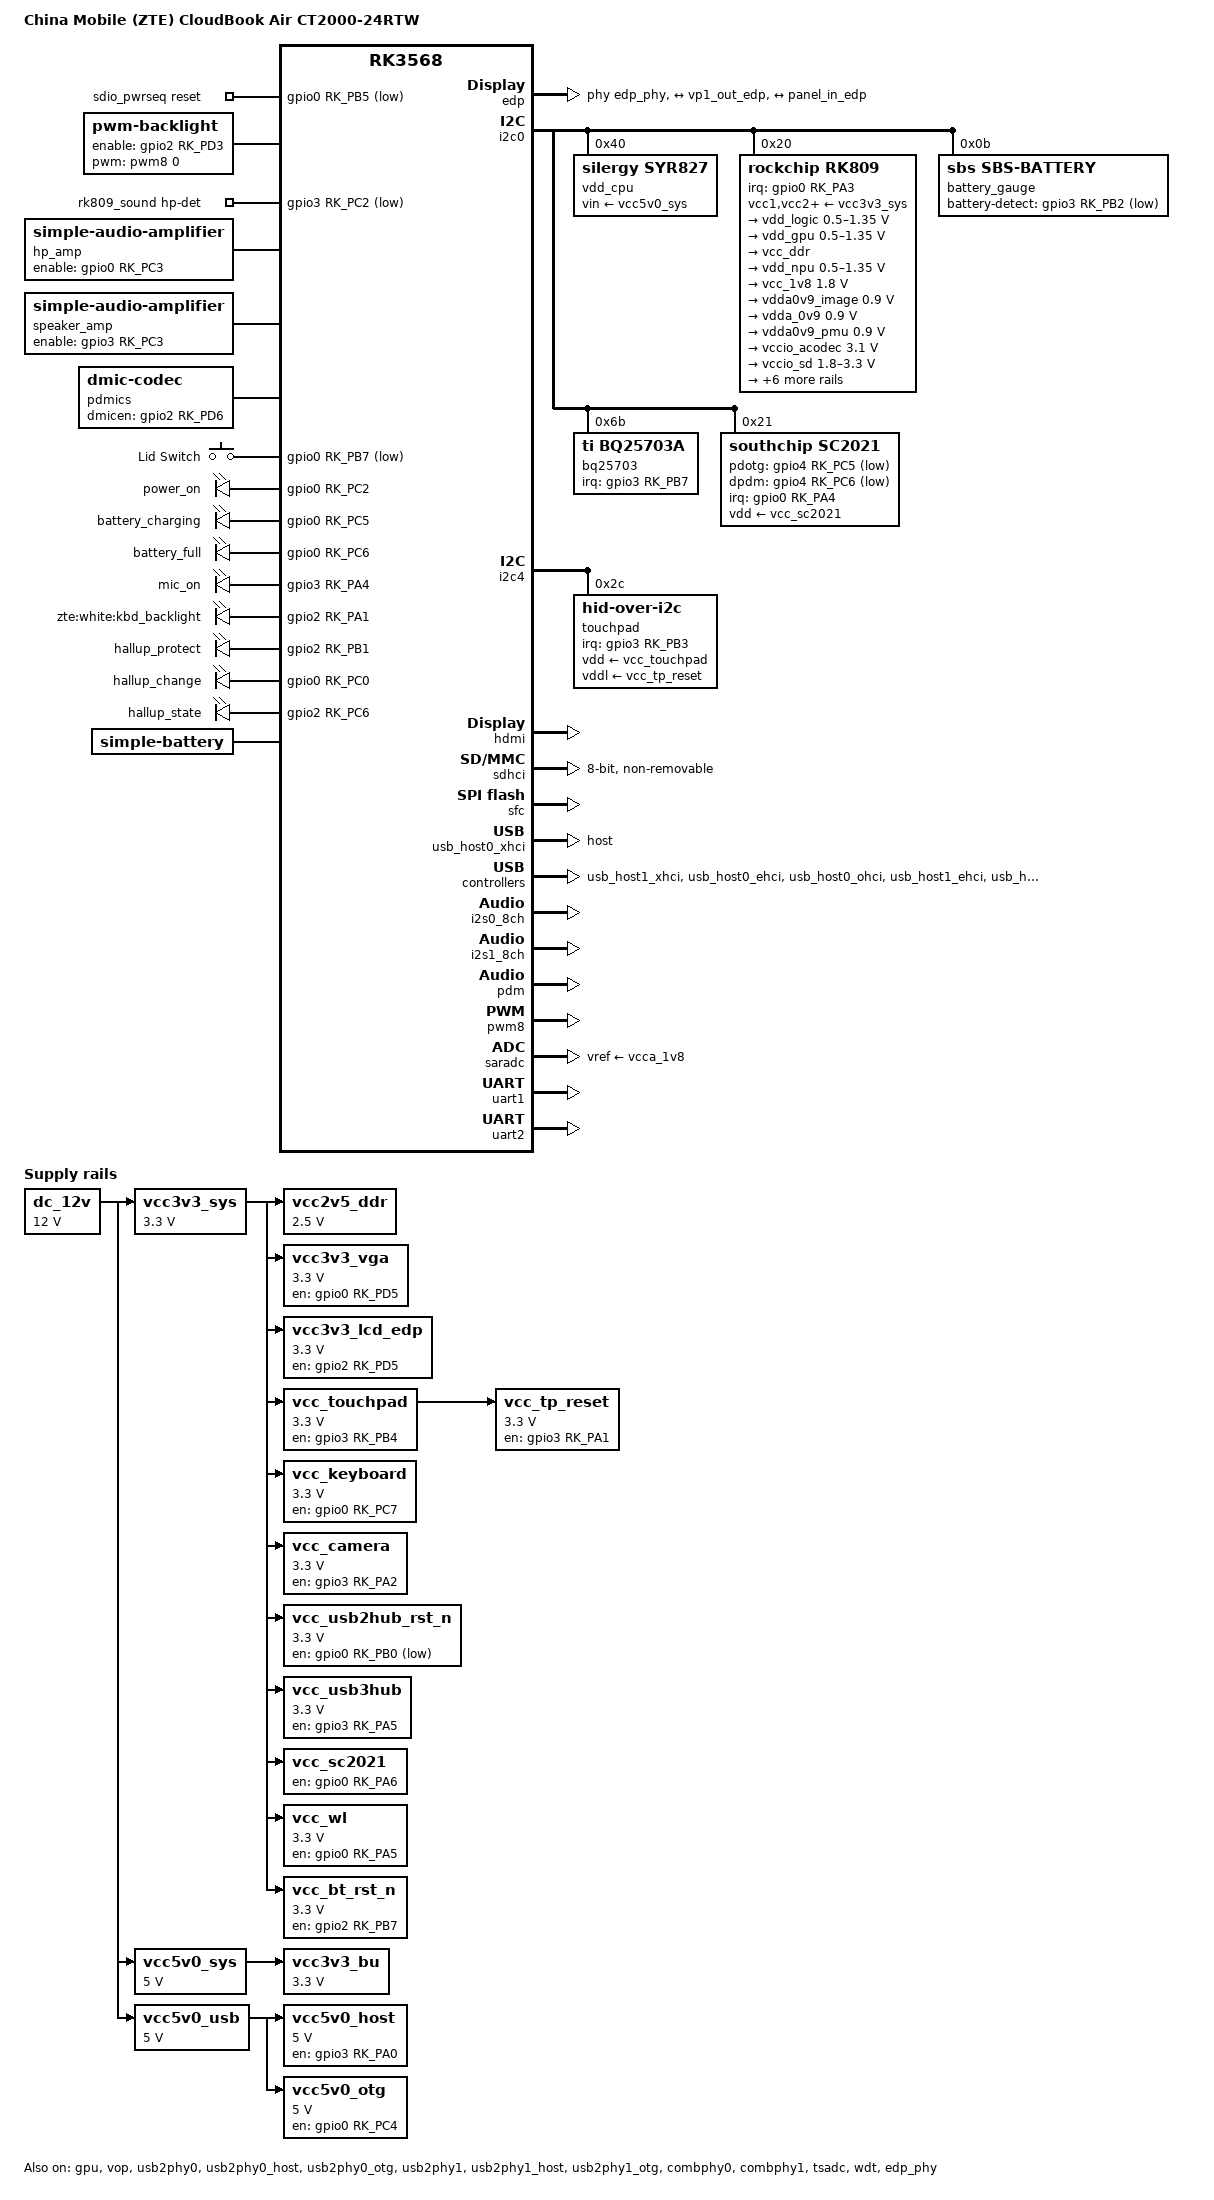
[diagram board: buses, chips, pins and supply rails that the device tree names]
// SPDX-License-Identifier: (GPL-2.0+ OR MIT)
/*
 * Device Tree for China Mobile (ZTE) CloudBook Air 14" (CT2000-24RTW / G601251)
 * Hardware Board Revision: V12/V13 (RK3568B2 + 4GB LPDDR4 + 64GB eMMC + BOE NV140WUM-N44)
 *
 * Secondary-Audited & Reverse-Engineered from:
 *   1. Factory live Device Tree (/sys/firmware/devicetree/base -> extracted_factory.dts)
 *   2. REA / Ghidra 12.1.2 decompilation of 12 factory kernel 4.19.193 drivers:
 *      - ztegpioctl_all.bin.c      (ztegpioctl_probe / suspend / resume)
 *      - boardctl_all.bin.c        (boardctl_usb_probe / boardctl_main_probe)
 *      - i2c_hid_all.bin.c         (i2c_hid_probe / suspend / resume)
 *      - i2c_tp_en_dis.bin.c       (i2c_touchpad_set_enable / disable)
 *      - panel_simple_all.bin.c    (panel_simple_probe / prepare / enable / get_modes)
 *      - edp_phy_all.bin.c         (rockchip_edp_phy_configure V12/V13 BOE N44 override)
 *      - analogix_dp_zte.bin.c     (analogix_dp_bind / cover_send_func Hall lid IRQ)
 *      - rk_headset_all.bin.c      (rockchip_headset_probe / rk_headset_adc_probe)
 *      - sc2021_probe.bin.c & sc2021_typec_evt_worker.bin.c (Southchip SC2021 PD)
 *      - bq25700_pd_connect.bin.c  (TI BQ25700 charger PD negotiation)
 *      - smart_battery_work.bin.c  (ZTE SBS 1.1 battery polling)
 */

/dts-v1/;

#include <dt-bindings/gpio/gpio.h>
#include <dt-bindings/input/input.h>
#include <dt-bindings/interrupt-controller/arm-gic.h>
#include <dt-bindings/power/rk3568-power.h>
#include <dt-bindings/clock/rk3568-cru.h>
#include <dt-bindings/phy/phy.h>
#include <dt-bindings/leds/common.h>
#include <dt-bindings/pinctrl/rockchip.h>
#include <dt-bindings/soc/rockchip,vop2.h>
#include "rk3568.dtsi"

/ {
	model = "China Mobile (ZTE) CloudBook Air CT2000-24RTW";
	/*
	 * Including "zte,w103d" activates pigeon2049/unifreq Linux 6.12/6.18
	 * MT7663S SDIO Wi-Fi (037a:7603) + Bluetooth (037a:7663) combo driver fixes
	 * (WHISR read-clear snapshot, 16-entry RX-enhance, eFuse BT/WiFi serialization).
	 */
	compatible = "zte,ecloudbook-air-24rtw", "zte,w103d", "rockchip,rk3568";

	aliases {
		ethernet0 = &gmac1;
		mmc0 = &sdhci;
		mmc1 = &sdmmc1;
		serial2 = &uart2;
	};

	chosen: chosen {
		bootargs = "earlycon=uart8250,mmio32,0xfe660000 console=ttyS2,115200n8 cpuidle.off=1 clk_ignore_unused pd_ignore_unused initcall_debug initcall_blacklist=devfreq_event_init root=LABEL=ROOTFS rootdelay=15 rw net.ifnames=0 panic=10 ignore_loglevel";
		#address-cells = <2>;
		#size-cells = <2>;
		ranges;

		framebuffer0: framebuffer@edf00000 {
			compatible = "simple-framebuffer";
			reg = <0x00 0xedf00000 0x00 0x008ca000>;
			width = <1920>;
			height = <1200>;
			stride = <7680>;
			format = "a8r8g8b8";
			status = "okay";
		};
	};

	reserved-memory {
		#address-cells = <2>;
		#size-cells = <2>;
		ranges;

		drm_logo: drm-logo@edf00000 {
			reg = <0x00 0xedf00000 0x00 0x00bddc36>;
			no-map;
		};

		ramoops: ramoops@110000 {
			compatible = "ramoops";
			reg = <0x00 0x110000 0x00 0xf0000>;
			record-size = <0x20000>;
			console-size = <0x80000>;
			pmsg-size = <0x50000>;
		};
	};

	/* ====================================================================
	 * 1. Power Tree & Fixed Regulators (Audited against extracted_factory.dts
	 *    and decompiled ztegpioctl / i2c_hid / panel-simple / usb drivers)
	 * ==================================================================== */

	dc_12v: dc-12v-regulator {
		compatible = "regulator-fixed";
		regulator-name = "dc_12v";
		regulator-always-on;
		regulator-boot-on;
		regulator-min-microvolt = <12000000>;
		regulator-max-microvolt = <12000000>;
	};

	vcc3v3_sys: vcc3v3-sys-regulator {
		compatible = "regulator-fixed";
		regulator-name = "vcc3v3_sys";
		regulator-always-on;
		regulator-boot-on;
		regulator-min-microvolt = <3300000>;
		regulator-max-microvolt = <3300000>;
		vin-supply = <&dc_12v>;
	};

	vcc5v0_sys: vcc5v0-sys-regulator {
		compatible = "regulator-fixed";
		regulator-name = "vcc5v0_sys";
		regulator-always-on;
		regulator-boot-on;
		regulator-min-microvolt = <5000000>;
		regulator-max-microvolt = <5000000>;
		vin-supply = <&dc_12v>;
	};

	vcc2v5_ddr: vcc2v5-ddr-regulator {
		compatible = "regulator-fixed";
		regulator-name = "vcc2v5-sys";
		regulator-always-on;
		regulator-boot-on;
		regulator-min-microvolt = <2500000>;
		regulator-max-microvolt = <2500000>;
		vin-supply = <&vcc3v3_sys>;
	};

	vcc3v3_bu: vcc3v3-bu-regulator {
		compatible = "regulator-fixed";
		regulator-name = "vcc3v3_bu";
		regulator-always-on;
		regulator-boot-on;
		regulator-min-microvolt = <3300000>;
		regulator-max-microvolt = <3300000>;
		vin-supply = <&vcc5v0_sys>;
	};

	/*
	 * Live hardware verification (/sys/kernel/debug/gpio & regulator_summary):
	 * gpio-29 (GPIO0_D5) is claimed by vcc3v3_vga (out hi, always-on, 3.3V).
	 */
	vcc3v3_vga: vcc3v3-vga-regulator {
		compatible = "regulator-fixed";
		regulator-name = "vcc3v3_vga";
		regulator-always-on;
		regulator-boot-on;
		regulator-min-microvolt = <3300000>;
		regulator-max-microvolt = <3300000>;
		enable-active-high;
		gpio = <&gpio0 RK_PD5 GPIO_ACTIVE_HIGH>;
		vin-supply = <&vcc3v3_sys>;
	};

	vcc5v0_usb: vcc5v0-usb-regulator {
		compatible = "regulator-fixed";
		regulator-name = "vcc5v0_usb";
		regulator-always-on;
		regulator-boot-on;
		regulator-min-microvolt = <5000000>;
		regulator-max-microvolt = <5000000>;
		vin-supply = <&dc_12v>;
	};

	/*
	 * USB Host 5V VBUS switch (supplies u2phy1_otg & u2phy1_host)
	 * Factory DT: gpio = <&gpio3 RK_PA0 GPIO_ACTIVE_HIGH>
	 */
	vcc5v0_host: vcc5v0-host-regulator {
		compatible = "regulator-fixed";
		regulator-name = "vcc5v0_host";
		regulator-boot-on;
		regulator-always-on;
		regulator-min-microvolt = <5000000>;
		regulator-max-microvolt = <5000000>;
		enable-active-high;
		gpio = <&gpio3 RK_PA0 GPIO_ACTIVE_HIGH>;
		vin-supply = <&vcc5v0_usb>;
		pinctrl-names = "default";
		pinctrl-0 = <&vcc5v0_host_en>;
	};

	/*
	 * USB OTG / Type-C & USB3 Host PHY0 5V VBUS switch (supplies u2phy0_otg & u2phy0_host)
	 * Factory DT: gpio = <&gpio0 RK_PC4 GPIO_ACTIVE_HIGH>
	 */
	vcc5v0_otg: vcc5v0-otg-regulator {
		compatible = "regulator-fixed";
		regulator-name = "vcc5v0_otg";
		regulator-boot-on;
		regulator-min-microvolt = <5000000>;
		regulator-max-microvolt = <5000000>;
		enable-active-high;
		gpio = <&gpio0 RK_PC4 GPIO_ACTIVE_HIGH>;
		vin-supply = <&vcc5v0_usb>;
		pinctrl-names = "default";
		pinctrl-0 = <&vcc5v0_otg_en>;
	};

	/*
	 * eDP LCD Panel 3.3V power switch (vcc3v3_lcd_edp)
	 * Factory DT: gpio = <&gpio2 RK_PD5 GPIO_ACTIVE_HIGH>, enable-active-high
	 */
	vcc3v3_lcd_edp: vcc3v3-lcd-edp {
		compatible = "regulator-fixed";
		regulator-name = "vcc3v3_lcd_edp";
		regulator-boot-on;
		regulator-min-microvolt = <3300000>;
		regulator-max-microvolt = <3300000>;
		enable-active-high;
		gpio = <&gpio2 RK_PD5 GPIO_ACTIVE_HIGH>;
		vin-supply = <&vcc3v3_sys>;
		pinctrl-names = "default";
		pinctrl-0 = <&edp_pwr_en>;

		regulator-state-mem {
			regulator-off-in-suspend;
		};
	};

	/*
	 * Touchpad Power Supply (GPIO3_B4) & Touchpad Reset/EC-Power (GPIO3_A1)
	 * Reverse-engineered from i2c_hid_all.bin.c (FUN_ffffff80088fe660 / FUN_ffffff80088fed40):
	 *   1. gpio-power   = <&gpio3 RK_PB4 GPIO_ACTIVE_HIGH> -> driven HIGH (1), wait 10ms
	 *   2. gpio-reseten = <&gpio3 RK_PA1 GPIO_ACTIVE_HIGH> -> driven HIGH (1), wait 100ms
	 * Both GPIOs MUST be HIGH for touchpad@2c (0911:5288) to come out of reset and respond on I2C4!
	 */
	vcc_touchpad: vcc-touchpad-regulator {
		compatible = "regulator-fixed";
		regulator-name = "vcc_touchpad";
		regulator-always-on;
		regulator-boot-on;
		regulator-min-microvolt = <3300000>;
		regulator-max-microvolt = <3300000>;
		enable-active-high;
		gpio = <&gpio3 RK_PB4 GPIO_ACTIVE_HIGH>;
		startup-delay-us = <10000>;
		vin-supply = <&vcc3v3_sys>;
	};

	vcc_tp_reset: vcc-tp-reset-regulator {
		compatible = "regulator-fixed";
		regulator-name = "vcc_tp_reset";
		regulator-always-on;
		regulator-boot-on;
		regulator-min-microvolt = <3300000>;
		regulator-max-microvolt = <3300000>;
		enable-active-high;
		gpio = <&gpio3 RK_PA1 GPIO_ACTIVE_HIGH>;
		vin-supply = <&vcc_touchpad>;
	};

	/*
	 * Internal SINO WEALTH USB Keyboard Power (GPIO0_C7)
	 * Reverse-engineered from ztegpioctl_all.bin.c:
	 *   gpio-keyboarpower = <&gpio0 RK_PC7 GPIO_ACTIVE_HIGH> -> driven HIGH (1) at boot & resume.
	 */
	vcc_keyboard: vcc-keyboard-regulator {
		compatible = "regulator-fixed";
		regulator-name = "vcc_keyboard";
		regulator-always-on;
		regulator-boot-on;
		regulator-min-microvolt = <3300000>;
		regulator-max-microvolt = <3300000>;
		enable-active-high;
		gpio = <&gpio0 RK_PC7 GPIO_ACTIVE_HIGH>;
		vin-supply = <&vcc3v3_sys>;
	};

	/*
	 * Internal UVC Webcam Power (GPIO3_A2)
	 * Reverse-engineered from ztegpioctl_all.bin.c:
	 *   gpio-cameraen = <&gpio3 RK_PA2 GPIO_ACTIVE_HIGH> -> driven HIGH (1) at boot & resume, LOW (0) in suspend.
	 */
	vcc_camera: vcc-camera-regulator {
		compatible = "regulator-fixed";
		regulator-name = "vcc_camera";
		regulator-always-on;
		regulator-boot-on;
		regulator-min-microvolt = <3300000>;
		regulator-max-microvolt = <3300000>;
		enable-active-high;
		gpio = <&gpio3 RK_PA2 GPIO_ACTIVE_HIGH>;
		vin-supply = <&vcc3v3_sys>;

		regulator-state-mem {
			regulator-off-in-suspend;
		};
	};

	/*
	 * USB 2.0 Hub Reset Deassertion (GPIO0_B0)
	 * CRITICAL POLARITY NOTE from ztegpioctl_all.bin.c (lines 51-53):
	 *   ztegpioctl_probe calls gpiod_direction_output_raw(gpio_usb2hubrst, 0)!
	 *   The USB2.0 Hub reset pin is ACTIVE-HIGH (1 = reset, 0 = normal operation).
	 *   By omitting 'enable-active-high' below, regulator-fixed drives GPIO0_B0 LOW (0) when enabled!
	 */
	vcc_usb2hub_rst_n: vcc-usb2hub-rst-n-regulator {
		compatible = "regulator-fixed";
		regulator-name = "vcc_usb2hub_rst_n";
		regulator-always-on;
		regulator-boot-on;
		regulator-min-microvolt = <3300000>;
		regulator-max-microvolt = <3300000>;
		gpio = <&gpio0 RK_PB0 GPIO_ACTIVE_LOW>;
		vin-supply = <&vcc3v3_sys>;
	};

	/*
	 * USB 3.0 Hub Power / Reset Deassertion (GPIO3_A5)
	 * Reverse-engineered from boardctl_all.bin.c (FUN_ffffff8008819fa8 / zteusb_pm_resume):
	 *   gpio-reset = <&gpio3 RK_PA5 GPIO_ACTIVE_HIGH> -> driven LOW (0) for 20ms, then HIGH (1)!
	 *   Normal operation requires GPIO3_A5 = HIGH (1).
	 */
	vcc_usb3hub: vcc-usb3hub-regulator {
		compatible = "regulator-fixed";
		regulator-name = "vcc_usb3hub";
		regulator-always-on;
		regulator-boot-on;
		regulator-min-microvolt = <3300000>;
		regulator-max-microvolt = <3300000>;
		enable-active-high;
		gpio = <&gpio3 RK_PA5 GPIO_ACTIVE_HIGH>;
		startup-delay-us = <20000>;
		vin-supply = <&vcc3v3_sys>;
		pinctrl-names = "default";
		pinctrl-0 = <&zte_usbhub_reset_gpio>;
	};

	/* SC2021 供电必须常开，不能再由 LED 用户接口关闭。 */
	vcc_sc2021: vcc-sc2021-regulator {
		compatible = "regulator-fixed";
		regulator-name = "vcc_sc2021";
		regulator-always-on;
		regulator-boot-on;
		enable-active-high;
		gpio = <&gpio0 RK_PA6 GPIO_ACTIVE_HIGH>;
		vin-supply = <&vcc3v3_sys>;
	};

	/*
	 * MediaTek MT7663S WiFi Power Enable (GPIO0_A5) & BT Reset Deassert (GPIO2_B7)
	 * Factory DT:
	 *   WIFI,poweren_gpio = <&gpio0 RK_PA5 GPIO_ACTIVE_HIGH>
	 *   BT,reset_gpio     = <&gpio2 RK_PB7 GPIO_ACTIVE_HIGH>
	 */
	vcc_wl: vcc-wl-regulator {
		compatible = "regulator-fixed";
		regulator-name = "vcc_wl";
		regulator-always-on;
		regulator-boot-on;
		regulator-min-microvolt = <3300000>;
		regulator-max-microvolt = <3300000>;
		enable-active-high;
		gpio = <&gpio0 RK_PA5 GPIO_ACTIVE_HIGH>;
		vin-supply = <&vcc3v3_sys>;
		pinctrl-names = "default";
		pinctrl-0 = <&wlan_power_on>;
	};

	vcc_bt_rst_n: vcc-bt-rst-n-regulator {
		compatible = "regulator-fixed";
		regulator-name = "vcc_bt_rst_n";
		regulator-always-on;
		regulator-boot-on;
		regulator-min-microvolt = <3300000>;
		regulator-max-microvolt = <3300000>;
		enable-active-high;
		gpio = <&gpio2 RK_PB7 GPIO_ACTIVE_HIGH>;
		vin-supply = <&vcc3v3_sys>;
	};

	/* SDIO WiFi Power Sequence (MT7663S Reset on GPIO0_B5 + RK809 32.768kHz clock) */
	sdio_pwrseq: sdio-pwrseq {
		compatible = "mmc-pwrseq-simple";
		clocks = <&rk809 1>;
		clock-names = "ext_clock";
		pinctrl-names = "default";
		pinctrl-0 = <&wifi_enable_h>;
		post-power-on-delay-ms = <200>;
		reset-gpios = <&gpio0 RK_PB5 GPIO_ACTIVE_LOW>;
	};

	/* ====================================================================
	 * 2. Display Subsystem: Backlight & BOE NV140WUM-N44 1920x1200 eDP Panel
	 *    Audited against extracted_factory.dts & panel_simple_all.bin.c
	 * ==================================================================== */

	/*
	 * Live hardware verification (/sys/kernel/debug/pwm & /sys/kernel/debug/gpio):
	 *   - PWM device: platform/fe6f0000.pwm (&pwm8, period = 25000ns, polarity = normal)
	 *   - Enable GPIO: gpio-91 = <&gpio2 RK_PD3 GPIO_ACTIVE_HIGH> (out hi)
	 */
	backlight: backlight {
		compatible = "pwm-backlight";
		pwms = <&pwm8 0 25000 0>;
		/* 本机实际 backlight 节点使用线性 0..255，不套用备用 backlight1 曲线。 */
		default-brightness-level = <200>;
		enable-gpios = <&gpio2 RK_PD3 GPIO_ACTIVE_HIGH>;
		pinctrl-names = "default";
		pinctrl-0 = <&bl_en_gpio>;
	};

	/* ====================================================================
	 * 3. Audio Subsystems (RK809 Speaker/HP + Digital PDM Mic Array + HDMI)
	 *    Audited against extracted_factory.dts & rk_headset_all.bin.c
	 * ==================================================================== */

	rk809_sound: rk809-sound {
		status = "okay";
		compatible = "simple-audio-card";
		simple-audio-card,format = "i2s";
		simple-audio-card,name = "rockchip,rk809-codec";
		simple-audio-card,mclk-fs = <256>;
		simple-audio-card,aux-devs = <&hp_amp>, <&speaker_amp>;
		simple-audio-card,pin-switches = "Headphones", "Speaker";
		pinctrl-names = "default";
		pinctrl-0 = <&hp_det>;
		/*
		 * 3.5mm Headset Jack Detection & External Headphone Switch/Amp:
		 * Reverse-engineered from rk_headset_all.bin.c (FUN_ffffff8008882034 / FUN_ffffff80088823c8):
		 *   - headset_gpio     = <&gpio3 RK_PC2 GPIO_ACTIVE_LOW>  (Jack insert detect)
		 *   - headset-ctl-gpios= <&gpio0 RK_PC3 GPIO_ACTIVE_HIGH> (Headphone amp enable, driven HIGH on insert)
		 */
		simple-audio-card,hp-det-gpios = <&gpio3 RK_PC2 GPIO_ACTIVE_LOW>;
		simple-audio-card,widgets =
			"Microphone", "Mic Jack",
			"Headphone", "Headphones",
			"Speaker", "Speaker";
		simple-audio-card,routing =
			"Headphones Amplifier INL", "HPOL",
			"Headphones Amplifier INR", "HPOR",
			"Headphones", "Headphones Amplifier OUTL",
			"Headphones", "Headphones Amplifier OUTR",
			"Speaker Amplifier INL", "SPKO",
			"Speaker", "Speaker Amplifier OUTL";

		simple-audio-card,cpu {
			sound-dai = <&i2s1_8ch>;
		};

		simple-audio-card,codec {
			sound-dai = <&rk809_codec>;
		};
	};

	/* 耳机和扬声器功放由 DAPM 按实际播放路径控制，不再常开。 */
	hp_amp: headphone-amplifier {
		compatible = "simple-audio-amplifier";
		enable-gpios = <&gpio0 RK_PC3 GPIO_ACTIVE_HIGH>;
		sound-name-prefix = "Headphones Amplifier";
	};

	speaker_amp: speaker-amplifier {
		compatible = "simple-audio-amplifier";
		enable-gpios = <&gpio3 RK_PC3 GPIO_ACTIVE_HIGH>;
		sound-name-prefix = "Speaker Amplifier";
	};

	/* Built-in Digital Microphone Array (PDM @ fe440000 + GPIO2_D6 enable) */
	pdmics: dmic-codec {
		status = "okay";
		compatible = "dmic-codec";
		#sound-dai-cells = <0>;
		dmicen-gpios = <&gpio2 RK_PD6 GPIO_ACTIVE_HIGH>;
		wakeup-delay-ms = <50>;
	};

	pdm_mic_array: pdm-mic-array {
		status = "okay";
		compatible = "simple-audio-card";
		simple-audio-card,name = "rockchip,pdm-mic-array";

		simple-audio-card,cpu {
			sound-dai = <&pdm>;
		};

		simple-audio-card,codec {
			sound-dai = <&pdmics>;
		};
	};

	/* HDMI Audio Output (I2S0_8CH -> HDMI) */
	hdmi_sound: hdmi-sound {
		status = "okay";
		compatible = "simple-audio-card";
		simple-audio-card,name = "rockchip,hdmi";
		simple-audio-card,mclk-fs = <128>;
		simple-audio-card,format = "i2s";

		simple-audio-card,cpu {
			sound-dai = <&i2s0_8ch>;
		};

		simple-audio-card,codec {
			sound-dai = <&hdmi>;
		};
	};

	/* ====================================================================
	 * 4. Input & LEDs: Lid Hall Sensor (GPIO0_B7) & System/Power/KBD LEDs
	 *    Audited against extracted_factory.dts (lines 534-602),
	 *    analogix_dp_zte.bin.c, and ztegpioctl_all.bin.c
	 * ==================================================================== */

	gpio-keys {
		compatible = "gpio-keys";
		autorepeat;

		/*
		 * Laptop Lid Hall Switch (GPIO0_B7)
		 * In factory kernel (panel_simple_all.bin.c + analogix_dp_zte.bin.c),
		 * lcdcover_pin = <&gpio0 RK_PB7> triggers "edp_cover_irq" on rising/falling edges.
		 * In Mainline Linux, SW_LID natively integrates with systemd-logind!
		 */
		lid-switch {
			label = "Lid Switch";
			linux,input-type = <EV_SW>;
			linux,code = <SW_LID>;
			gpios = <&gpio0 RK_PB7 GPIO_ACTIVE_LOW>;
			wakeup-source;
		};
	};

	leds: gpio-leds {
		compatible = "gpio-leds";

		power_led: led-power {
			label = "power_on";
			gpios = <&gpio0 RK_PC2 GPIO_ACTIVE_HIGH>;
			default-state = "on";
		};

		charging_led: led-charging {
			label = "battery_charging";
			gpios = <&gpio0 RK_PC5 GPIO_ACTIVE_HIGH>;
			default-state = "off";
			linux,default-trigger = "battery-charging";
		};

		battery_full_led: led-battery-full {
			label = "battery_full";
			gpios = <&gpio0 RK_PC6 GPIO_ACTIVE_HIGH>;
			default-state = "off";
			linux,default-trigger = "battery-full";
		};

		mic_mute_led: led-mic {
			label = "mic_on";
			gpios = <&gpio3 RK_PA4 GPIO_ACTIVE_HIGH>;
			default-state = "off";
		};

		/*
		 * Keyboard Backlight (GPIO2_A1)
		 * Reverse-engineered from ztegpioctl_all.bin.c:
		 *   gpio-keyboardbacklight = <&gpio2 RK_PA1 GPIO_ACTIVE_LOW>
		 *   Note: ztegpioctl sets raw 0 = OFF, raw 1 = ON.
		 */
		kbd_backlight: led-kbd-backlight {
			label = "zte:white:kbd_backlight";
			gpios = <&gpio2 RK_PA1 GPIO_ACTIVE_HIGH>;
			default-state = "off";
		};

		/* SC2021 电源已移至 vcc_sc2021；这里只保留真正的 LED/霍尔控制。 */
		hallup_protect: led-hallup-protect {
			label = "hallup_protect";
			gpios = <&gpio2 RK_PB1 GPIO_ACTIVE_HIGH>;
			default-state = "on";
			retain-state-suspended;
		};

		hallup_change: led-hallup-change {
			label = "hallup_change";
			gpios = <&gpio0 RK_PC0 GPIO_ACTIVE_HIGH>;
			default-state = "off";
		};

		hallup_state: led-hallup-state {
			label = "hallup_state";
			gpios = <&gpio2 RK_PC6 GPIO_ACTIVE_HIGH>;
			default-state = "off";
		};
	};

	/*
	 * eDP PHY & Controller
	 * On RK3568, eDP PHY is at 0xfdcb0000 and controller is at 0xfe0c0000.
	 * Reverse-engineered from edp_phy_all.bin.c and factory_w620d_v12.dts.
	 */
	edp_phy: edp-phy@fdcb0000 {
		compatible = "rockchip,rk3568-edp-phy";
		reg = <0x0 0xfdcb0000 0x0 0x8000>;
		clocks = <&pmucru XIN_OSC0_EDPPHY_G>, <&cru PCLK_EDPPHY_GRF>;
		clock-names = "refclk", "pclk";
		resets = <&cru SRST_P_EDPPHY_GRF>;
		reset-names = "apb";
		#phy-cells = <0>;
		status = "okay";
		zte,edp-v12-v13;
	};

	edp: edp@fe0c0000 {
		compatible = "rockchip,rk3568-edp";
		reg = <0x0 0xfe0c0000 0x0 0x10000>;
		interrupts = <GIC_SPI 18 IRQ_TYPE_LEVEL_HIGH>;
		clocks = <&pmucru XIN_OSC0_EDPPHY_G>, <&cru PCLK_EDP_CTRL>, <&cru CLK_EDP_200M>, <&cru HCLK_VO>;
		clock-names = "dp", "pclk", "spdif", "hclk";
		resets = <&cru SRST_EDP_24M>, <&cru SRST_P_EDP_CTRL>;
		reset-names = "dp", "apb";
		phys = <&edp_phy>;
		phy-names = "dp";
		power-domains = <&power RK3568_PD_VO>;
		rockchip,grf = <&grf>;
		status = "okay";
		force-hpd;

		ports {
			#address-cells = <1>;
			#size-cells = <0>;

			edp_in: port@0 {
				reg = <0>;

				edp_in_vp1: endpoint {
					remote-endpoint = <&vp1_out_edp>;
				};
			};

			edp_out: port@1 {
				reg = <1>;

				edp_out_panel: endpoint {
					remote-endpoint = <&panel_in_edp>;
				};
			};
		};

		aux-bus {
			/* BOE NV140WUM-N44 通过 AUX/EDID 识别，电源参数来自本机原厂 DT。 */
			edp_panel: panel {
				compatible = "edp-panel";
				backlight = <&backlight>;
				power-supply = <&vcc3v3_lcd_edp>;
				enable-gpios = <&gpio2 RK_PD4 GPIO_ACTIVE_HIGH>;
				no-hpd;
				hpd-absent-delay-ms = <200>;

				port {
					panel_in_edp: endpoint {
						remote-endpoint = <&edp_out_panel>;
					};
				};
			};
		};
	};
};

/* ====================================================================
 * 5. CPU & GPU DVFS Supplies
 * ==================================================================== */

&cpu0 {
	cpu-supply = <&vdd_cpu>;
};

&cpu1 {
	cpu-supply = <&vdd_cpu>;
};

&cpu2 {
	cpu-supply = <&vdd_cpu>;
};

&cpu3 {
	cpu-supply = <&vdd_cpu>;
};

&gpu {
	mali-supply = <&vdd_gpu>;
	status = "okay";
};

/* ====================================================================
 * 6. PMU IO Voltage Domains (CRITICAL: Audited against extracted_factory.dts)
 *    vccio1 = 3.1V (vccio_acodec), vccio4 = 1.8V, vccio5/6/7 = 3.3V
 * ==================================================================== */

&pmu_io_domains {
	status = "okay";
	pmuio2-supply = <&vcc3v3_pmu>;
	vccio1-supply = <&vccio_acodec>;
	vccio3-supply = <&vccio_sd>;
	vccio4-supply = <&vcc_1v8>;
	vccio5-supply = <&vcc_3v3>;
	vccio6-supply = <&vcc_3v3>;
	vccio7-supply = <&vcc_3v3>;
};

/*
 * Syscon Reboot Mode in PMUGRF (offset 0x200):
 * Allows 'sudo reboot loader' (Rockusb) or 'sudo reboot ums' (USB Mass Storage of eMMC)
 * from inside Mainline Linux / Armbian, and satisfies dtbo_a/b __fixups__ (&reboot_mode).
 */
&pmugrf {
	reboot_mode: reboot-mode {
		compatible = "syscon-reboot-mode";
		offset = <0x200>;
		mode-bootloader = <0x5242c309>;
		mode-charge = <0x5242c30b>;
		mode-fastboot = <0x5242c303>;
		mode-loader = <0x5242c301>;
		mode-normal = <0x5242c300>;
		mode-panic = <0x5242c307>;
		mode-recovery = <0x5242c303>;
		mode-ums = <0x5242c30c>;
		mode-watchdog = <0x5242c308>;
	};
};

/* 本机 25 Wh 电池对应的原厂 BQ 配置；其他容量电池需重新核对参数。 */
/ {
	battery: battery {
		compatible = "simple-battery";
		voltage-min-design-microvolt = <7168000>;
		constant-charge-current-max-microamp = <3000000>;
		constant-charge-voltage-max-microvolt = <8700000>;
	};
};

/* ====================================================================
 * 7. I2C0: Power Management Bus
 *    - SYR827 / RK860 CPU Buck (@40, vin = vcc5v0_sys)
 *    - RK809 PMIC + Codec (@20)
 *    - Southchip SC2021 Type-C PD Controller (@21, IRQ GPIO0_A4)
 *    - TI BQ25700/BQ25703 NVDC Buck-Boost Charger (@6b, IRQ GPIO3_B7)
 *    - SBS 1.1 Smart Battery (@0b, batid GPIO3_B2)
 * ==================================================================== */

&i2c0 {
	status = "okay";
	pinctrl-names = "default";
	pinctrl-0 = <&i2c0_xfer>;

	vdd_cpu: regulator@40 {
		compatible = "silergy,syr827";
		reg = <0x40>;
		fcs,suspend-voltage-selector = <1>;
		regulator-name = "vdd_cpu";
		regulator-always-on;
		regulator-boot-on;
		regulator-min-microvolt = <712500>;
		regulator-max-microvolt = <1390000>;
		regulator-ramp-delay = <1000>;
		vin-supply = <&vcc5v0_sys>;

		regulator-state-mem {
			regulator-off-in-suspend;
		};
	};

	rk809: pmic@20 {
		compatible = "rockchip,rk809";
		reg = <0x20>;
		interrupt-parent = <&gpio0>;
		interrupts = <RK_PA3 IRQ_TYPE_LEVEL_LOW>;
		#clock-cells = <1>;
		#sound-dai-cells = <0>;
		clock-output-names = "rk808-clkout1", "rk808-clkout2";
		clocks = <&cru I2S1_MCLKOUT_TX>;
		clock-names = "mclk";
		assigned-clocks = <&cru I2S1_MCLKOUT_TX>;
		assigned-clock-parents = <&cru CLK_I2S1_8CH_TX>;
		pinctrl-names = "default", "pmic-sleep", "pmic-power-off", "pmic-reset";
		pinctrl-0 = <&pmic_int>, <&i2s1m0_mclk>, <&pmic_hwreset>;
		pinctrl-1 = <&soc_slppin_slp>, <&rk817_slppin_slp>;
		pinctrl-2 = <&soc_slppin_gpio>, <&rk817_slppin_pwrdn>;
		pinctrl-3 = <&soc_slppin_gpio>, <&rk817_slppin_rst>;
		rockchip,system-power-controller;
		wakeup-source;

		vcc1-supply = <&vcc3v3_sys>;
		vcc2-supply = <&vcc3v3_sys>;
		vcc3-supply = <&vcc3v3_sys>;
		vcc4-supply = <&vcc3v3_sys>;
		vcc5-supply = <&vcc3v3_sys>;
		vcc6-supply = <&vcc3v3_sys>;
		vcc7-supply = <&vcc3v3_sys>;
		vcc8-supply = <&vcc3v3_sys>;
		vcc9-supply = <&vcc3v3_sys>;

		pwrkey {
			status = "okay";
		};

		pinctrl_rk8xx: pinctrl_rk8xx {
			gpio-controller;
			#gpio-cells = <2>;

			rk817_slppin_null: rk817_slppin_null {
				pins = "gpio_slp";
				function = "pin_fun0";
			};

			rk817_slppin_slp: rk817_slppin_slp {
				pins = "gpio_slp";
				function = "pin_fun1";
			};

			rk817_slppin_pwrdn: rk817_slppin_pwrdn {
				pins = "gpio_slp";
				function = "pin_fun2";
			};

			rk817_slppin_rst: rk817_slppin_rst {
				pins = "gpio_slp";
				function = "pin_fun3";
			};
		};

		regulators {
			vdd_logic: DCDC_REG1 {
				regulator-name = "vdd_logic";
				regulator-always-on;
				regulator-boot-on;
				regulator-min-microvolt = <500000>;
				regulator-max-microvolt = <1350000>;
				regulator-initial-mode = <0x2>;
				regulator-ramp-delay = <6001>;

				regulator-state-mem {
					regulator-on-in-suspend;
					regulator-suspend-microvolt = <900000>;
				};
			};

			vdd_gpu: DCDC_REG2 {
				regulator-name = "vdd_gpu";
				regulator-always-on;
				regulator-boot-on;
				regulator-min-microvolt = <500000>;
				regulator-max-microvolt = <1350000>;
				regulator-initial-mode = <0x2>;
				regulator-ramp-delay = <6001>;

				regulator-state-mem {
					regulator-off-in-suspend;
				};
			};

			vcc_ddr: DCDC_REG3 {
				regulator-name = "vcc_ddr";
				regulator-always-on;
				regulator-boot-on;
				regulator-initial-mode = <0x2>;

				regulator-state-mem {
					regulator-on-in-suspend;
				};
			};

			vdd_npu: DCDC_REG4 {
				regulator-name = "vdd_npu";
				regulator-always-on;
				regulator-boot-on;
				regulator-min-microvolt = <500000>;
				regulator-max-microvolt = <1350000>;
				regulator-initial-mode = <0x2>;
				regulator-ramp-delay = <6001>;

				regulator-state-mem {
					regulator-off-in-suspend;
				};
			};

			vcc_1v8: DCDC_REG5 {
				regulator-name = "vcc_1v8";
				regulator-always-on;
				regulator-boot-on;
				regulator-min-microvolt = <1800000>;
				regulator-max-microvolt = <1800000>;

				regulator-state-mem {
					regulator-on-in-suspend;
					regulator-suspend-microvolt = <1800000>;
				};
			};

			vdda0v9_image: LDO_REG1 {
				regulator-name = "vdda0v9_image";
				regulator-always-on;
				regulator-boot-on;
				regulator-min-microvolt = <900000>;
				regulator-max-microvolt = <900000>;

				regulator-state-mem {
					regulator-off-in-suspend;
				};
			};

			vdda_0v9: LDO_REG2 {
				regulator-name = "vdda_0v9";
				regulator-always-on;
				regulator-boot-on;
				regulator-min-microvolt = <900000>;
				regulator-max-microvolt = <900000>;

				regulator-state-mem {
					regulator-off-in-suspend;
				};
			};

			vdda0v9_pmu: LDO_REG3 {
				regulator-name = "vdda0v9_pmu";
				regulator-always-on;
				regulator-boot-on;
				regulator-min-microvolt = <900000>;
				regulator-max-microvolt = <900000>;

				regulator-state-mem {
					regulator-on-in-suspend;
					regulator-suspend-microvolt = <900000>;
				};
			};

			/* Audited against extracted_factory.dts line 5722: 3.1V (3100000 uV) */
			vccio_acodec: LDO_REG4 {
				regulator-name = "vccio_acodec";
				regulator-always-on;
				regulator-boot-on;
				regulator-min-microvolt = <3100000>;
				regulator-max-microvolt = <3100000>;

				regulator-state-mem {
					regulator-off-in-suspend;
				};
			};

			vccio_sd: LDO_REG5 {
				regulator-name = "vccio_sd";
				regulator-always-on;
				regulator-boot-on;
				regulator-min-microvolt = <1800000>;
				regulator-max-microvolt = <3300000>;

				regulator-state-mem {
					regulator-off-in-suspend;
				};
			};

			vcc3v3_pmu: LDO_REG6 {
				regulator-name = "vcc3v3_pmu";
				regulator-always-on;
				regulator-boot-on;
				regulator-min-microvolt = <3300000>;
				regulator-max-microvolt = <3300000>;

				regulator-state-mem {
					regulator-on-in-suspend;
					regulator-suspend-microvolt = <3300000>;
				};
			};

			vcca_1v8: LDO_REG7 {
				regulator-name = "vcca_1v8";
				regulator-always-on;
				regulator-boot-on;
				regulator-min-microvolt = <1800000>;
				regulator-max-microvolt = <1800000>;

				regulator-state-mem {
					regulator-off-in-suspend;
				};
			};

			vcca1v8_pmu: LDO_REG8 {
				regulator-name = "vcca1v8_pmu";
				regulator-always-on;
				regulator-boot-on;
				regulator-min-microvolt = <1800000>;
				regulator-max-microvolt = <1800000>;

				regulator-state-mem {
					regulator-on-in-suspend;
					regulator-suspend-microvolt = <1800000>;
				};
			};

			vcca1v8_image: LDO_REG9 {
				regulator-name = "vcca1v8_image";
				regulator-always-on;
				regulator-boot-on;
				regulator-min-microvolt = <1800000>;
				regulator-max-microvolt = <1800000>;

				regulator-state-mem {
					regulator-off-in-suspend;
				};
			};

			vcc_3v3: SWITCH_REG1 {
				regulator-name = "vcc_3v3";
				regulator-always-on;
				regulator-boot-on;

				regulator-state-mem {
					regulator-off-in-suspend;
				};
			};

			vcc3v3_sd: SWITCH_REG2 {
				regulator-name = "vcc3v3_sd";
				regulator-always-on;
				regulator-boot-on;

				regulator-state-mem {
					regulator-off-in-suspend;
				};
			};
		};

		/*
		 * Audited against extracted_factory.dts lines 5900-5915:
		 * Speaker Amplifier Enable = GPIO3_C3 (ACTIVE_HIGH)
		 */
		rk809_codec: codec {
			status = "okay";
			#sound-dai-cells = <0>;
			compatible = "rockchip,rk817-codec";
			rockchip,mic-in-differential;
		};
	};

	/*
	 * SBS 1.1 Smart Battery Gauge (0x0b on I2C0)
	 * Reverse-engineered from smart_battery_work.bin.c:
	 *   Standard SBS 1.1 registers (0x08 Temp, 0x09 Voltage, 0x0a Current, 0x0d RSOC,
	 *   0x0f RemCap, 0x10 FullCap, 0x16 Status, 0x17 CycleCount, 0x18 DesignCap).
	 *   Battery presence detect pin (from factory rk809 battery subnode): GPIO3_B2 (ACTIVE_LOW).
	 */
	battery_gauge: battery@b {
		compatible = "sbs,sbs-battery";
		reg = <0x0b>;
		sbs,i2c-retry-count = <3>;
		sbs,poll-retry-count = <3>;
		sbs,battery-detect-gpios = <&gpio3 RK_PB2 GPIO_ACTIVE_LOW>;
		sbs,disable-charger-broadcasts;
		power-supplies = <&bq25703>;
		pinctrl-names = "default";
		pinctrl-0 = <&bat_id>;
	};

	/*
	 * TI BQ25703A NVDC Buck-Boost Battery Charger (0x6b on I2C0)
	 * 使用主线 simple-battery 参数；不添加未经验证的 OTG VBUS regulator。
	 */
	bq25703: charger@6b {
		compatible = "ti,bq25703a";
		reg = <0x6b>;
		interrupt-parent = <&gpio3>;
		interrupts = <RK_PB7 IRQ_TYPE_LEVEL_LOW>;
		pinctrl-names = "default";
		pinctrl-0 = <&charger_ok_int>;
		/* 未识别真实 PD 合约前限制为 500mA；验证后再提高。 */
		input-current-limit-microamp = <500000>;
		monitored-battery = <&battery>;
		power-supplies = <&sc2021>;
	};

	/*
	 * Southchip SC2021 Type-C PD Controller (0x21 on I2C0)
	 * 只描述原厂已确认的 IRQ/GPIO；PD 合约字段由驱动按实际寄存器读取。
	 */
	sc2021: sc2021@21 {
		compatible = "southchip,sc2021";
		reg = <0x21>;
		interrupt-parent = <&gpio0>;
		interrupts = <RK_PA4 IRQ_TYPE_LEVEL_LOW>;
		pinctrl-names = "default";
		pinctrl-0 = <&sc2021_int>;
		vdd-supply = <&vcc_sc2021>;
		pdotg-gpios = <&gpio4 RK_PC5 GPIO_ACTIVE_LOW>;
		dpdm-gpios = <&gpio4 RK_PC6 GPIO_ACTIVE_LOW>;
		status = "okay";
	};
};

/* ====================================================================
 * 8. I2C4: I2C-HID Touchpad (0911:5288 at 0x2c)
 *    Audited against extracted_factory.dts lines 5995-6011 & i2c_hid_all.bin.c:
 *      - IRQ: GPIO3_B3 (IRQ_TYPE_LEVEL_LOW)
 *      - Power: vcc_touchpad (GPIO3_B4 HIGH) + vcc_tp_reset (GPIO3_A1 HIGH)
 * ==================================================================== */

&i2c4 {
	status = "okay";
	pinctrl-names = "default";
	pinctrl-0 = <&i2c4m0_xfer>;

	touchpad@2c {
		compatible = "hid-over-i2c";
		reg = <0x2c>;
		hid-descr-addr = <0x0020>;
		interrupt-parent = <&gpio3>;
		interrupts = <RK_PB3 IRQ_TYPE_LEVEL_LOW>;
		vdd-supply = <&vcc_touchpad>;
		vddl-supply = <&vcc_tp_reset>;
		post-power-on-delay-ms = <100>;
		wakeup-source;
	};
};

/* ====================================================================
 * 9. Display Pipeline: VOP2, HDMI (vp0), and eDP (vp1)
 *    CRITICAL AUDIT FIX (extracted_factory.dts lines 2819-2892, 3678-3731, 3819-3908):
 *      - vp0 is routed to HDMI (&hdmi), clocked by &pmucru PLL_HPLL!
 *      - vp1 is routed to eDP (&edp), clocked by &cru PLL_VPLL!
 * ==================================================================== */

&vop {
	status = "okay";
	assigned-clocks = <&cru DCLK_VOP0>, <&cru DCLK_VOP1>;
	assigned-clock-parents = <&pmucru PLL_HPLL>, <&cru PLL_VPLL>;
};

&vop_mmu {
	status = "okay";
};

&vp0 {
	vp0_out_hdmi: endpoint@ROCKCHIP_VOP2_EP_HDMI0 {
		reg = <ROCKCHIP_VOP2_EP_HDMI0>;
		remote-endpoint = <&hdmi_in_vp0>;
	};
};

&vp1 {
	vp1_out_edp: endpoint@ROCKCHIP_VOP2_EP_EDP0 {
		reg = <ROCKCHIP_VOP2_EP_EDP0>;
		remote-endpoint = <&edp_in_vp1>;
	};
};

&hdmi {
	status = "okay";
	avdd-0v9-supply = <&vdda0v9_image>;
	avdd-1v8-supply = <&vcca1v8_image>;
	pinctrl-names = "default";
	pinctrl-0 = <&hdmitx_scl &hdmitx_sda &hdmitxm0_cec>;
};

&hdmi_in {
	hdmi_in_vp0: endpoint {
		remote-endpoint = <&vp0_out_hdmi>;
	};
};

&hdmi_sound {
	status = "okay";
};

/* ====================================================================
 * 10. Storage: eMMC (&sdhci), MicroSD (&sdmmc0), SDIO WiFi (&sdmmc1), SPI NOR (&sfc)
 * ==================================================================== */

/* Internal 64GB Foresee FSEIASLD-64G eMMC 5.1 (HS200) */
&sdhci {
	bus-width = <8>;
	max-frequency = <200000000>;
	non-removable;
	pinctrl-names = "default";
	pinctrl-0 = <&emmc_bus8 &emmc_clk &emmc_cmd &emmc_datastrobe>;
	status = "okay";
};

/*
 * Note: This laptop has NO physical MicroSD card slot (&sdmmc0).
 * Furthermore, GPIO0_A4 is wired to the Southchip SC2021 Type-C PD interrupt (sc2021@21),
 * so &sdmmc0 MUST remain disabled to avoid a GPIO0_A4 conflict!
 */
&sdmmc0 {
	status = "disabled";
};

/* MediaTek MT7663S SDIO WiFi (037a:7603) + BT 5.0 (037a:7663) Combo.
 * v1 stopped immediately after "mmc_host mmc1: card is non-removable".
 * Keep SDIO disabled for the minimal Rootfs boot candidate; Wi-Fi is a later milestone.
 */
&sdmmc1 {
	bus-width = <4>;
	cap-sd-highspeed;
	cap-sdio-irq;
	keep-power-in-suspend;
	max-frequency = <150000000>;
	mmc-pwrseq = <&sdio_pwrseq>;
	non-removable;
	pinctrl-names = "default";
	pinctrl-0 = <&sdmmc1_bus4 &sdmmc1_cmd &sdmmc1_clk>;
	sd-uhs-sdr104;
	/* Skip CMD11 voltage switch on fixed 1.8V vqmmc rail in unifreq/ophub kernels */
	zte,sdio-fixed-1-8v;
	vmmc-supply = <&vcc_wl>;
	vqmmc-supply = <&vcca1v8_pmu>;
	status = "disabled";
};

&sfc {
	status = "okay";
};

/* ====================================================================
 * 11. USB 2.0 / USB 3.0 Controllers & PHYs
 *     CRITICAL AUDIT FIX:
 *       - &usbhost_dwc3 (fd000000) + &u2phy0_host + &combphy1_usq drives the
 *         internal SINO WEALTH USB Keyboard (258a:0001 on usb 7-1)!
 *       - &usbdrd_dwc3 (fcc00000) + &u2phy0_otg + &combphy0_us drives Type-C!
 *       - &usb_host0_ehci (fd800000) + &u2phy1_otg drives the internal UVC Webcam (usb 1-1.3)!
 *       - &usb_host1_ehci (fd880000) + &u2phy1_host drives the USB2.0 Hub!
 * ==================================================================== */

&usb2phy0 {
	status = "okay";
};

&usb2phy0_host {
	phy-supply = <&vcc5v0_otg>;
	status = "okay";
};

&usb2phy0_otg {
	phy-supply = <&vcc5v0_otg>;
	status = "okay";
};

&usb2phy1 {
	status = "okay";
};

&usb2phy1_host {
	phy-supply = <&vcc5v0_host>;
	status = "okay";
};

&usb2phy1_otg {
	phy-supply = <&vcc5v0_host>;
	status = "okay";
};

&combphy0 {
	status = "okay";
};

&combphy1 {
	status = "okay";
};

/* USB 3.0 OTG / Type-C Port (fcc00000) */
&usb_host0_xhci {
	dr_mode = "host";
	status = "okay";
};

/* USB 3.0 Host Controller (fd000000) — Connects Internal USB Keyboard (258a:0001) & USB3 Port */
&usb_host1_xhci {
	status = "okay";
};

/* USB 2.0 Host 0 EHCI/OHCI (fd800000 / fd840000) — Connects Internal UVC Camera (0c45:6a10) */
&usb_host0_ehci {
	status = "okay";
};

&usb_host0_ohci {
	status = "okay";
};

/* USB 2.0 Host 1 EHCI/OHCI (fd880000 / fd8c0000) */
&usb_host1_ehci {
	status = "okay";
};

&usb_host1_ohci {
	status = "okay";
};

/* ====================================================================
 * 12. Audio Controllers, PWM, SARADC, TSADC, Watchdog, UARTs
 * ==================================================================== */

&i2s0_8ch {
	status = "okay";
};

&i2s1_8ch {
	status = "okay";
	rockchip,clk-trcm = <1>;
	pinctrl-names = "default";
	pinctrl-0 = <&i2s1m0_sclktx
		     &i2s1m0_lrcktx
		     &i2s1m0_sdi0
		     &i2s1m0_sdo0>;
};

&pdm {
	status = "okay";
	#sound-dai-cells = <0>;
	rockchip,path-map = <1 2 3 0>;
	pinctrl-names = "default";
	pinctrl-0 = <&pdmm0_clk
		     &pdmm0_clk1
		     &pdmm0_sdi1>;
};

/* PWM4/PWM5 会分别抢占耳放 GPIO0_C3 和 OTG VBUS GPIO0_C4，保持禁用。 */

&pwm8 {
	status = "okay";
	pinctrl-names = "default";
	pinctrl-0 = <&pwm8m0_pins>;
};

&saradc {
	status = "okay";
	vref-supply = <&vcca_1v8>;
};

&tsadc {
	status = "okay";
	rockchip,hw-tshut-mode = <0>;
	rockchip,hw-tshut-polarity = <0>;
};

&wdt {
	status = "okay";
};

&uart1 {
	status = "okay";
	pinctrl-names = "default";
	pinctrl-0 = <&uart1m0_xfer &uart1m0_ctsn>;
};

&uart2 {
	status = "okay";
};

/* ====================================================================
 * 13. Board-Specific Pinmux Definitions (Audited from extracted_factory.dts)
 * ==================================================================== */

&pinctrl {
	backlight {
		bl_en_gpio: bl-en-gpio {
			rockchip,pins = <2 RK_PD3 RK_FUNC_GPIO &pcfg_pull_none>;
		};
	};

	battery {
		bat_id: bat-id {
			rockchip,pins = <3 RK_PB2 RK_FUNC_GPIO &pcfg_pull_none>;
		};
	};

	charger {
		charger_ok_int: charger-ok-int {
			rockchip,pins = <3 RK_PB7 RK_FUNC_GPIO &pcfg_pull_up>;
		};
	};

	edp {
		edp_pwr_en: edp-pwr-en {
			rockchip,pins = <2 RK_PD5 RK_FUNC_GPIO &pcfg_pull_none>;
		};

		edp_hpd: edp-hpd {
			rockchip,pins = <0 RK_PC1 RK_FUNC_GPIO &pcfg_pull_none>;
		};
	};

	headphone {
		hp_det: hp-det {
			rockchip,pins = <3 RK_PC2 RK_FUNC_GPIO &pcfg_pull_up>;
		};
	};

	sc2021 {
		sc2021_int: sc2021-int {
			rockchip,pins =
				<0 RK_PA4 RK_FUNC_GPIO &pcfg_pull_none>,
				<4 RK_PC5 RK_FUNC_GPIO &pcfg_pull_down_drv_level_1>,
				<4 RK_PC6 RK_FUNC_GPIO &pcfg_pull_down_drv_level_1>;
		};
	};

	pmic {
		pmic_int: pmic_int {
			rockchip,pins = <0 RK_PA3 RK_FUNC_GPIO &pcfg_pull_up>;
		};

		pmic_hwreset: pmic_hwreset {
			rockchip,pins = <0 RK_PA0 RK_FUNC_GPIO &pcfg_pull_up>;
		};

		soc_slppin_gpio: soc_slppin_gpio {
			rockchip,pins = <0 RK_PA2 RK_FUNC_GPIO &pcfg_output_low>;
		};

		soc_slppin_slp: soc_slppin_slp {
			rockchip,pins = <0 RK_PA2 1 &pcfg_pull_up>;
		};

		soc_slppin_rst: soc_slppin_rst {
			rockchip,pins = <0 RK_PA2 2 &pcfg_pull_none>;
		};
	};

	sdio-pwrseq {
		wlan_power_on: wifi-power-on {
			rockchip,pins = <0 RK_PA5 RK_FUNC_GPIO &pcfg_pull_none>;
		};

		wifi_enable_h: wifi-enable-h {
			rockchip,pins = <0 RK_PB5 RK_FUNC_GPIO &pcfg_pull_none>;
		};
	};

	usb {
		vcc5v0_host_en: vcc5v0-host-en {
			rockchip,pins = <3 RK_PA0 RK_FUNC_GPIO &pcfg_pull_none>;
		};

		vcc5v0_otg_en: vcc5v0-otg-en {
			rockchip,pins = <0 RK_PC4 RK_FUNC_GPIO &pcfg_pull_none>;
		};
	};

	zte_usbhub_reset {
		zte_usbhub_reset_gpio: zte_usbhub_reset-gpio {
			rockchip,pins = <3 RK_PA5 RK_FUNC_GPIO &pcfg_pull_none>;
		};
	};
};
